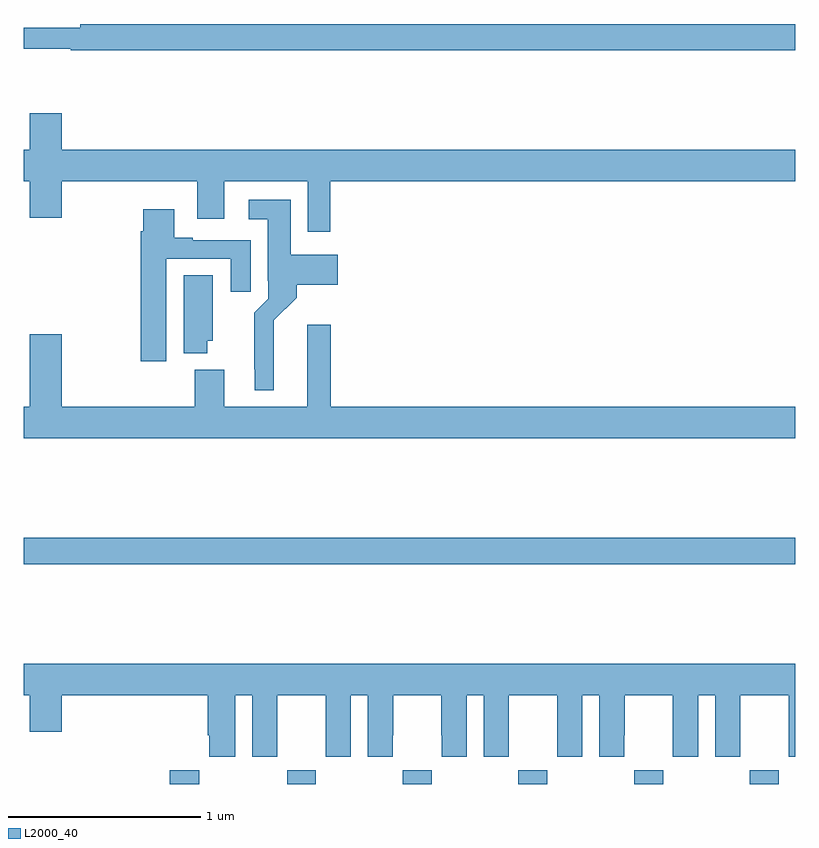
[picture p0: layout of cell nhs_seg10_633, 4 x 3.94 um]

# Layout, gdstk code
import gdstk
lib = gdstk.Library(unit=1e-6, precision=1e-09)
def R(c, l, rs):  # rectangles x0, y0, x1, y1
    for r in rs: c.add(gdstk.rectangle(r[:2], r[2:], *l))
def A(c, l, x, y, w, h, nx, ny, dx, dy):  # array of equal rectangles
    R(c, l, [(x+i*dx, y+j*dy, x+i*dx+w, y+j*dy+h) for i in range(nx) for j in range(ny)])
def P(c, l, *ps):  # polygons
    for p in ps: c.add(gdstk.Polygon(p, *l))
L2000_40 = (2000, 40)

nhs_seg10_633 = lib.new_cell('nhs_seg10_633')
A(nhs_seg10_633, L2000_40, 142.365, 1322.5, 0.15, 0.072, 5, 1, 0.6, 0)
R(nhs_seg10_633, L2000_40, [(141.758,1322.5,141.911,1322.572), (141,1323.64,145,1323.776)])
P(nhs_seg10_633, L2000_40, [(145,1326.44),(141.292,1326.44),(141.292,1326.421),(141,1326.421),(141,1326.312),(141.245,1326.312),(141.245,1326.304),(145,1326.304)],
  [(142.589,1325.624),(145,1325.624),(145,1325.788),(141.196,1325.788),(141.196,1325.977),(141.032,1325.977),(141.032,1325.788),(141,1325.788),(141,1325.624),(141.032,1325.624),(141.032,1325.436),(141.196,1325.436),(141.196,1325.624),(141.899,1325.624),(141.899,1325.43),(142.039,1325.43),(142.039,1325.624),(142.473,1325.624),(142.473,1325.364),(142.589,1325.364)],
  [(142.297,1324.904),(142.415,1325.022),(142.415,1325.087),(142.627,1325.087),(142.627,1325.245),(142.384,1325.245),(142.384,1325.53),(142.167,1325.53),(142.167,1325.429),(142.265,1325.429),(142.265,1325.11),(142.269,1325.11),(142.269,1325.016),(142.195,1324.942),(142.195,1324.651),(142.199,1324.651),(142.199,1324.541),(142.297,1324.541)],
  [(141.739,1325.223),(142.073,1325.223),(142.073,1325.052),(142.177,1325.052),(142.177,1325.319),(141.877,1325.319),(141.877,1325.332),(141.781,1325.332),(141.781,1325.479),(141.62,1325.479),(141.62,1325.366),(141.608,1325.366),(141.608,1324.692),(141.739,1324.692)],
  [(141.952,1324.797),(141.979,1324.797),(141.979,1325.138),(141.83,1325.138),(141.83,1324.733),(141.952,1324.733)],
  [(145,1324.456),(142.592,1324.456),(142.592,1324.882),(142.469,1324.882),(142.469,1324.456),(142.039,1324.456),(142.039,1324.648),(141.887,1324.648),(141.887,1324.456),(141.196,1324.456),(141.196,1324.831),(141.032,1324.831),(141.032,1324.456),(141,1324.456),(141,1324.292),(145,1324.292)],
  [(142.096,1322.96),(142.184,1322.96),(142.184,1322.64),(142.314,1322.64),(142.314,1322.752),(142.315,1322.752),(142.315,1322.96),(142.565,1322.96),(142.565,1322.752),(142.566,1322.752),(142.566,1322.64),(142.696,1322.64),(142.696,1322.96),(142.784,1322.96),(142.784,1322.64),(142.914,1322.64),(142.914,1322.752),(142.915,1322.752),(142.915,1322.96),(143.165,1322.96),(143.165,1322.752),(143.166,1322.752),(143.166,1322.64),(143.296,1322.64),(143.296,1322.96),(143.384,1322.96),(143.384,1322.64),(143.514,1322.64),(143.514,1322.752),(143.515,1322.752),(143.515,1322.96),(143.765,1322.96),(143.765,1322.752),(143.766,1322.752),(143.766,1322.64),(143.896,1322.64),(143.896,1322.96),(143.984,1322.96),(143.984,1322.64),(144.114,1322.64),(144.114,1322.752),(144.115,1322.752),(144.115,1322.96),(144.365,1322.96),(144.365,1322.752),(144.366,1322.752),(144.366,1322.64),(144.496,1322.64),(144.496,1322.96),(144.584,1322.96),(144.584,1322.64),(144.714,1322.64),(144.714,1322.752),(144.715,1322.752),(144.715,1322.96),(144.965,1322.96),(144.965,1322.752),(144.966,1322.752),(144.966,1322.64),(145,1322.64),(145,1323.124),(141,1323.124),(141,1322.96),(141.032,1322.96),(141.032,1322.772),(141.196,1322.772),(141.196,1322.96),(141.953,1322.96),(141.953,1322.752),(141.962,1322.752),(141.962,1322.64),(142.096,1322.64)])

lib.write_gds('nhs_seg10_633.gds')
